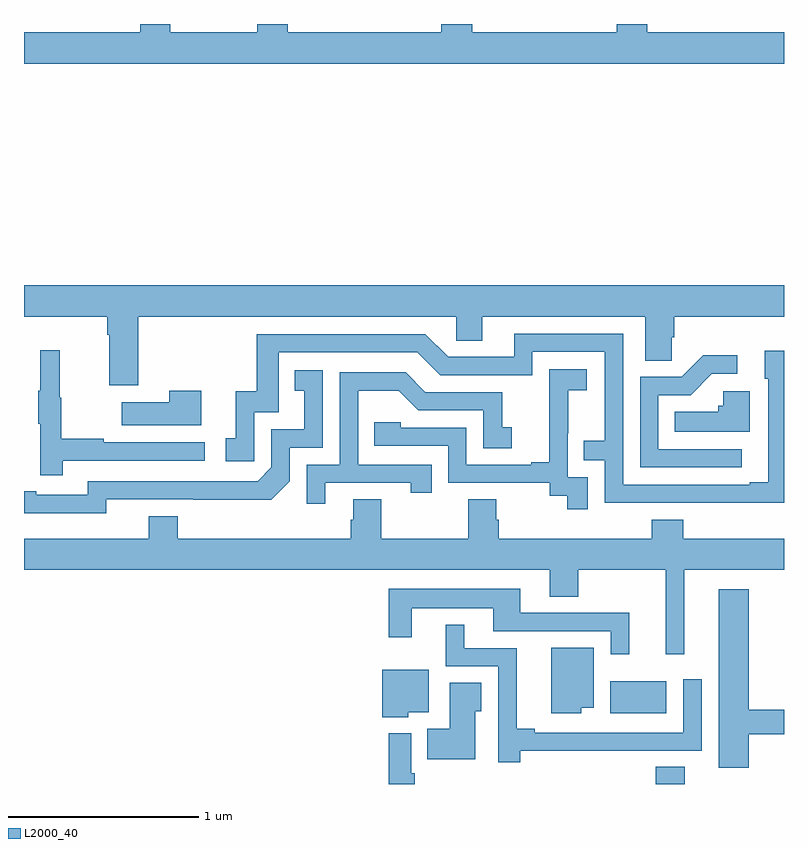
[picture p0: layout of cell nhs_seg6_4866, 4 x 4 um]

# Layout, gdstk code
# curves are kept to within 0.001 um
import gdstk
lib = gdstk.Library(unit=1e-6, precision=1e-09)
def R(c, l, rs):  # rectangles x0, y0, x1, y1
    for r in rs: c.add(gdstk.rectangle(r[:2], r[2:], *l))
def P(c, l, *ps):  # polygons
    for p in ps: c.add(gdstk.Polygon(p, *l))
L2000_40 = (2000, 40)

nhs_seg6_4866 = lib.new_cell('nhs_seg6_4866')
R(nhs_seg6_4866, L2000_40, [(402.326,987.5,402.478,987.59), (402.086,987.872,402.379,988.042)])
P(nhs_seg6_4866, L2000_40, [(403,991.456),(402.279,991.456),(402.279,991.5),(402.119,991.5),(402.119,991.456),(401.36,991.456),(401.36,991.5),(401.195,991.5),(401.195,991.456),(400.388,991.456),(400.388,991.5),(400.228,991.5),(400.228,991.456),(399.771,991.456),(399.771,991.5),(399.611,991.5),(399.611,991.456),(399,991.456),(399,991.292),(403,991.292)],
  [(399.602,989.96),(401.274,989.96),(401.274,989.833),(401.413,989.833),(401.413,989.96),(402.269,989.96),(402.269,989.728),(402.408,989.728),(402.408,989.851),(402.422,989.851),(402.422,989.96),(403,989.96),(403,990.124),(399,990.124),(399,989.96),(399.437,989.96),(399.437,989.864),(399.449,989.864),(399.449,989.598),(399.602,989.598)],
  [(403,989.779),(402.899,989.779),(402.899,989.634),(402.918,989.634),(402.918,989.089),(402.821,989.089),(402.821,989.076),(402.153,989.076),(402.153,989.871),(401.579,989.871),(401.579,989.748),(401.232,989.748),(401.112,989.868),(400.225,989.868),(400.225,989.566),(400.115,989.566),(400.115,989.319),(400.062,989.319),(400.062,989.199),(400.212,989.199),(400.212,989.457),(400.341,989.457),(400.341,989.772),(401.07,989.772),(401.19,989.652),(401.676,989.652),(401.676,989.775),(402.057,989.775),(402.057,989.306),(401.947,989.306),(401.947,989.205),(402.057,989.205),(402.057,988.98),(403,988.979)],
  [(399.203,989.202),(399.952,989.202),(399.952,989.298),(399.419,989.298),(399.419,989.318),(399.196,989.318),(399.196,989.532),(399.188,989.532),(399.188,989.782),(399.086,989.782),(399.086,989.569),(399.075,989.569),(399.075,989.395),(399.086,989.395),(399.086,989.124),(399.203,989.124)],
  [(402.778,989.262),(402.339,989.262),(402.339,989.547),(402.508,989.547),(402.619,989.658),(402.754,989.658),(402.754,989.756),(402.575,989.756),(402.462,989.643),(402.243,989.643),(402.243,989.166),(402.778,989.166)],
  [(401.967,989.115),(401.862,989.115),(401.862,989.345),(401.864,989.345),(401.864,989.573),(401.962,989.573),(401.962,989.683),(401.764,989.683),(401.764,989.477),(401.765,989.477),(401.765,989.194),(401.669,989.194),(401.669,989.181),(401.328,989.181),(401.328,989.376),(400.983,989.376),(400.983,989.403),(400.843,989.403),(400.843,989.28),(401.232,989.28),(401.232,989.085),(401.766,989.085),(401.766,989.017),(401.859,989.017),(401.859,988.947),(401.967,988.947)],
  [(399.432,988.998),(400.3,988.997),(400.398,989.094),(400.398,989.271),(400.572,989.271),(400.572,989.677),(400.426,989.677),(400.426,989.571),(400.475,989.571),(400.475,989.367),(400.302,989.367),(400.302,989.166),(400.23,989.094),(399.336,989.094),(399.336,989.022),(399.064,989.022),(399.064,989.042),(399,989.042),(399,988.926),(399.432,988.925)],
  [(400.585,989.085),(401.036,989.085),(401.036,989.034),(401.147,989.034),(401.147,989.181),(400.758,989.181),(400.758,989.57),(400.972,989.57),(401.076,989.466),(401.418,989.466),(401.418,989.268),(401.566,989.268),(401.566,989.377),(401.517,989.377),(401.517,989.562),(401.113,989.562),(401.008,989.667),(400.662,989.667),(400.662,989.181),(400.488,989.181),(400.488,988.974),(400.585,988.974)],
  [(399.934,989.569),(399.764,989.569),(399.764,989.509),(399.515,989.509),(399.515,989.387),(399.934,989.387)],
  [(402.82,989.566),(402.681,989.566),(402.681,989.49),(402.655,989.49),(402.655,989.458),(402.424,989.458),(402.424,989.354),(402.82,989.354)],
  [(402.476,988.628),(403,988.628),(403,988.792),(402.47,988.792),(402.47,988.891),(402.305,988.891),(402.305,988.792),(401.498,988.792),(401.498,988.89),(401.485,988.89),(401.485,989),(401.338,989),(401.338,988.792),(400.881,988.792),(400.881,989),(400.733,989),(400.733,988.89),(400.721,988.89),(400.721,988.792),(399.809,988.792),(399.809,988.909),(399.656,988.909),(399.656,988.792),(399,988.792),(399,988.628),(401.768,988.628),(401.768,988.486),(401.916,988.486),(401.916,988.628),(402.377,988.628),(402.377,988.182),(402.476,988.182)],
  [(402.185,988.401),(401.611,988.401),(401.611,988.528),(400.92,988.528),(400.92,988.272),(401.041,988.272),(401.041,988.424),(401.471,988.424),(401.471,988.305),(402.087,988.305),(402.087,988.182),(402.185,988.182)],
  [(402.815,987.762),(403,987.762),(403,987.89),(402.815,987.89),(402.815,988.525),(402.656,988.525),(402.656,987.585),(402.815,987.585)],
  [(401.612,987.674),(402.242,987.674),(402.242,987.675),(402.567,987.675),(402.567,988.051),(402.471,988.051),(402.471,987.771),(401.689,987.771),(401.689,987.791),(401.594,987.791),(401.594,988.215),(401.317,988.215),(401.317,988.339),(401.219,988.339),(401.219,988.119),(401.496,988.119),(401.496,987.615),(401.612,987.615)],
  [(401.932,987.902),(401.998,987.902),(401.998,988.216),(401.774,988.216),(401.774,987.872),(401.932,987.872)],
  [(401.022,987.878),(401.131,987.878),(401.131,988.102),(400.886,988.102),(400.886,987.851),(401.022,987.851)],
  [(401.374,987.883),(401.407,987.883),(401.407,988.034),(401.24,988.034),(401.24,987.79),(401.122,987.79),(401.122,987.629),(401.374,987.629)],
  [(401.057,987.556),(401.037,987.556),(401.037,987.766),(400.921,987.766),(400.921,987.5),(401.057,987.5)])

lib.write_gds('nhs_seg6_4866.gds')
